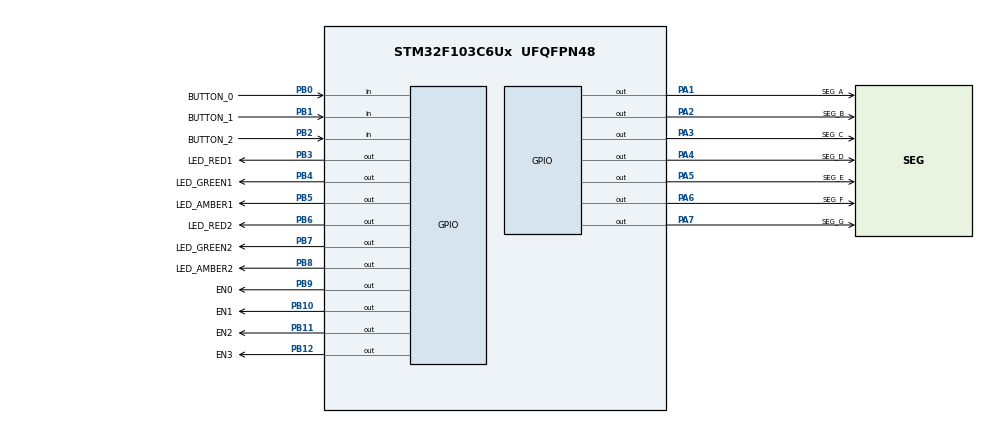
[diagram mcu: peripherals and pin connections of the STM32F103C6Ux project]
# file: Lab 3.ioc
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Mcu.Family=STM32F1
Mcu.Name=STM32F103C6Ux
Mcu.Package=UFQFPN48
NVIC.PriorityGroup=NVIC_PRIORITYGROUP_4
NVIC.TIM2_IRQn=true\:0\:0\:false\:false\:true\:true\:true
PA1.GPIO_Label=SEG_A
PA1.Signal=GPIO_Output
PA2.GPIO_Label=SEG_B
PA2.Signal=GPIO_Output
PA3.GPIO_Label=SEG_C
PA3.Signal=GPIO_Output
PA4.GPIO_Label=SEG_D
PA4.Signal=GPIO_Output
PA5.GPIO_Label=SEG_E
PA5.Signal=GPIO_Output
PA6.GPIO_Label=SEG_F
PA6.Signal=GPIO_Output
PA7.GPIO_Label=SEG_G
PA7.Signal=GPIO_Output
PB0.GPIO_Label=BUTTON_0
PB0.GPIO_PuPd=GPIO_PULLUP
PB0.Signal=GPIO_Input
PB1.GPIO_Label=BUTTON_1
PB1.GPIO_PuPd=GPIO_PULLUP
PB1.Signal=GPIO_Input
PB10.GPIO_Label=EN1
PB10.Signal=GPIO_Output
PB11.GPIO_Label=EN2
PB11.Signal=GPIO_Output
PB12.GPIO_Label=EN3
PB12.Signal=GPIO_Output
PB2.GPIO_Label=BUTTON_2
PB2.GPIO_PuPd=GPIO_PULLUP
PB2.Signal=GPIO_Input
PB3.GPIO_Label=LED_RED1
PB3.Signal=GPIO_Output
PB4.GPIO_Label=LED_GREEN1
PB4.Signal=GPIO_Output
PB5.GPIO_Label=LED_AMBER1
PB5.Signal=GPIO_Output
PB6.GPIO_Label=LED_RED2
PB6.Signal=GPIO_Output
PB7.GPIO_Label=LED_GREEN2
PB7.Signal=GPIO_Output
PB8.GPIO_Label=LED_AMBER2
PB8.Signal=GPIO_Output
PB9.GPIO_Label=EN0
PB9.Signal=GPIO_Output
ProjectManager.HeapSize=0x200
ProjectManager.StackSize=0x400
ProjectManager.TargetToolchain=STM32CubeIDE
RCC.APB1Freq_Value=8000000
RCC.APB2Freq_Value=8000000
TIM2.Period=9
TIM2.Prescaler=7999
VP_SYS_VS_ND.Mode=No_Debug
VP_TIM2_VS_ClockSourceINT.Mode=Internal
board=custom

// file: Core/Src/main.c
/* USER CODE BEGIN Header */
/**
  ******************************************************************************
  * @file           : main.c
  * @brief          : Main program body
  ******************************************************************************
  * @attention
  *
  * <h2><center>&copy; Copyright (c) 2025 STMicroelectronics.
  * All rights reserved.</center></h2>
  *
  * This software component is licensed by ST under BSD 3-Clause license,
  * the "License"; You may not use this file except in compliance with the
  * License. You may obtain a copy of the License at:
  *                        opensource.org/licenses/BSD-3-Clause
  *
  ******************************************************************************
  */
/* USER CODE END Header */
#include "main.h"

/* USER CODE BEGIN Includes */
#include "input_reading.h"
#include "software_timer.h"
#include "traffic_led.h"
#include "led_display.h"
#include "output_processing.h"
/* USER CODE END Includes */

TIM_HandleTypeDef htim2;

void SystemClock_Config(void);
static void MX_GPIO_Init(void);
static void MX_TIM2_Init(void);

int main(void)
{

  /* MCU Configuration--------------------------------------------------------*/

  /* Reset of all peripherals, Initializes the Flash interface and the Systick. */
  HAL_Init();

  /* Configure the system clock */
  SystemClock_Config();

  /* Initialize all configured peripherals */
  MX_GPIO_Init();
  MX_TIM2_Init();
  /* USER CODE BEGIN 2 */
  HAL_TIM_Base_Start_IT (&htim2 );

  button_reading_Init();
  LED_TRAFFIC_STORE_BUFFER(5, 0);
  LED_TRAFFIC_STORE_BUFFER(2, 1);
  LED_TRAFFIC_STORE_BUFFER(3, 2);
  LED_TRAFFIC_LOAD_BUFFER();
  /* USER CODE END 2 */

  /* Infinite loop */
  /* USER CODE BEGIN WHILE */
  setTimer(1000);
  setBlinkLedTimer(250);
  setLED7Timer(1000);
  while (1)
  {
	  fsm_for_output_processing();
    /* USER CODE END WHILE */

  }
}

void SystemClock_Config(void)
{
  RCC_OscInitTypeDef RCC_OscInitStruct = {0};
  RCC_ClkInitTypeDef RCC_ClkInitStruct = {0};

  /** Initializes the RCC Oscillators according to the specified parameters
  * in the RCC_OscInitTypeDef structure.
  */
  RCC_OscInitStruct.OscillatorType = RCC_OSCILLATORTYPE_HSI;
  RCC_OscInitStruct.HSIState = RCC_HSI_ON;
  RCC_OscInitStruct.HSICalibrationValue = RCC_HSICALIBRATION_DEFAULT;
  RCC_OscInitStruct.PLL.PLLState = RCC_PLL_NONE;
  if (HAL_RCC_OscConfig(&RCC_OscInitStruct) != HAL_OK)
  {
    Error_Handler();
  }
  /** Initializes the CPU, AHB and APB buses clocks
  */
  RCC_ClkInitStruct.ClockType = RCC_CLOCKTYPE_HCLK|RCC_CLOCKTYPE_SYSCLK
                              |RCC_CLOCKTYPE_PCLK1|RCC_CLOCKTYPE_PCLK2;
  RCC_ClkInitStruct.SYSCLKSource = RCC_SYSCLKSOURCE_HSI;
  RCC_ClkInitStruct.AHBCLKDivider = RCC_SYSCLK_DIV1;
  RCC_ClkInitStruct.APB1CLKDivider = RCC_HCLK_DIV1;
  RCC_ClkInitStruct.APB2CLKDivider = RCC_HCLK_DIV1;

  if (HAL_RCC_ClockConfig(&RCC_ClkInitStruct, FLASH_LATENCY_0) != HAL_OK)
  {
    Error_Handler();
  }
}

static void MX_TIM2_Init(void)
{

  TIM_ClockConfigTypeDef sClockSourceConfig = {0};
  TIM_MasterConfigTypeDef sMasterConfig = {0};

  htim2.Instance = TIM2;
  htim2.Init.Prescaler = 7999;
  htim2.Init.CounterMode = TIM_COUNTERMODE_UP;
  htim2.Init.Period = 9;
  htim2.Init.ClockDivision = TIM_CLOCKDIVISION_DIV1;
  htim2.Init.AutoReloadPreload = TIM_AUTORELOAD_PRELOAD_DISABLE;
  if (HAL_TIM_Base_Init(&htim2) != HAL_OK)
  {
    Error_Handler();
  }
  sClockSourceConfig.ClockSource = TIM_CLOCKSOURCE_INTERNAL;
  if (HAL_TIM_ConfigClockSource(&htim2, &sClockSourceConfig) != HAL_OK)
  {
    Error_Handler();
  }
  sMasterConfig.MasterOutputTrigger = TIM_TRGO_RESET;
  sMasterConfig.MasterSlaveMode = TIM_MASTERSLAVEMODE_DISABLE;
  if (HAL_TIMEx_MasterConfigSynchronization(&htim2, &sMasterConfig) != HAL_OK)
  {
    Error_Handler();
  }

}

static void MX_GPIO_Init(void)
{
  GPIO_InitTypeDef GPIO_InitStruct = {0};

  /* GPIO Ports Clock Enable */
  __HAL_RCC_GPIOA_CLK_ENABLE();
  __HAL_RCC_GPIOB_CLK_ENABLE();

  /*Configure GPIO pin Output Level */
  HAL_GPIO_WritePin(GPIOA, SEG_A_Pin|SEG_B_Pin|SEG_C_Pin|SEG_D_Pin
                          |SEG_E_Pin|SEG_F_Pin|SEG_G_Pin, GPIO_PIN_RESET);

  /*Configure GPIO pin Output Level */
  HAL_GPIO_WritePin(GPIOB, EN1_Pin|EN2_Pin|EN3_Pin|LED_RED1_Pin
                          |LED_GREEN1_Pin|LED_AMBER1_Pin|LED_RED2_Pin|LED_GREEN2_Pin
                          |LED_AMBER2_Pin|EN0_Pin, GPIO_PIN_RESET);

  /*Configure GPIO pins : SEG_A_Pin SEG_B_Pin SEG_C_Pin SEG_D_Pin
                           SEG_E_Pin SEG_F_Pin SEG_G_Pin */
  GPIO_InitStruct.Pin = SEG_A_Pin|SEG_B_Pin|SEG_C_Pin|SEG_D_Pin
                          |SEG_E_Pin|SEG_F_Pin|SEG_G_Pin;
  GPIO_InitStruct.Mode = GPIO_MODE_OUTPUT_PP;
  GPIO_InitStruct.Pull = GPIO_NOPULL;
  GPIO_InitStruct.Speed = GPIO_SPEED_FREQ_LOW;
  HAL_GPIO_Init(GPIOA, &GPIO_InitStruct);

  /*Configure GPIO pins : BUTTON_0_Pin BUTTON_1_Pin BUTTON_2_Pin */
  GPIO_InitStruct.Pin = BUTTON_0_Pin|BUTTON_1_Pin|BUTTON_2_Pin;
  GPIO_InitStruct.Mode = GPIO_MODE_INPUT;
  GPIO_InitStruct.Pull = GPIO_PULLUP;
  HAL_GPIO_Init(GPIOB, &GPIO_InitStruct);

  /*Configure GPIO pins : EN1_Pin EN2_Pin EN3_Pin LED_RED1_Pin
                           LED_GREEN1_Pin LED_AMBER1_Pin LED_RED2_Pin LED_GREEN2_Pin
                           LED_AMBER2_Pin EN0_Pin */
  GPIO_InitStruct.Pin = EN1_Pin|EN2_Pin|EN3_Pin|LED_RED1_Pin
                          |LED_GREEN1_Pin|LED_AMBER1_Pin|LED_RED2_Pin|LED_GREEN2_Pin
                          |LED_AMBER2_Pin|EN0_Pin;
  GPIO_InitStruct.Mode = GPIO_MODE_OUTPUT_PP;
  GPIO_InitStruct.Pull = GPIO_NOPULL;
  GPIO_InitStruct.Speed = GPIO_SPEED_FREQ_LOW;
  HAL_GPIO_Init(GPIOB, &GPIO_InitStruct);

}

/* USER CODE BEGIN 4 */
void HAL_TIM_PeriodElapsedCallback ( TIM_HandleTypeDef * htim )
{
	button_reading();
	timer_run();
}
/* USER CODE END 4 */

void Error_Handler(void)
{
  __disable_irq();
  while (1)
  {
  }
}

/************************ (C) COPYRIGHT STMicroelectronics *****END OF FILE****/
